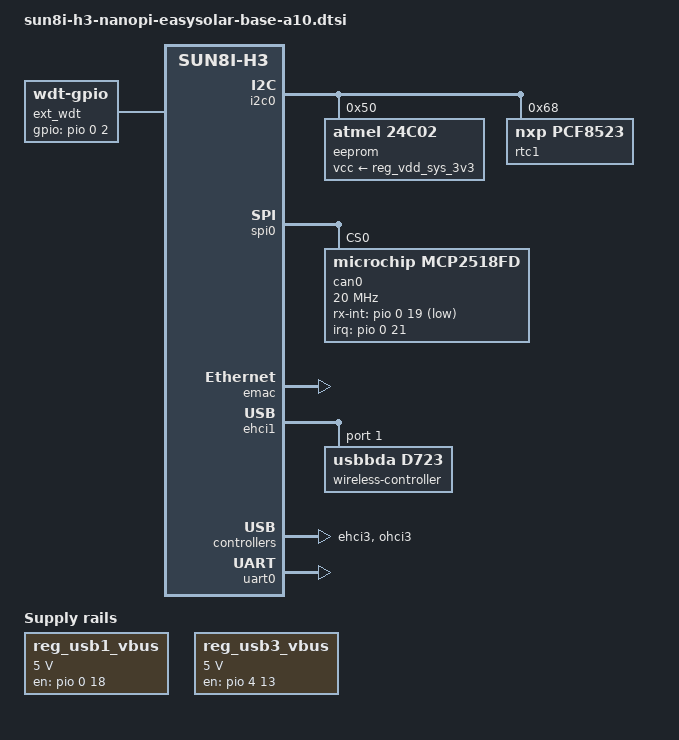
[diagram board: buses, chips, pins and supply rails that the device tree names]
/*
 * Copyright (C) 2019 Mans Rullgard <mans@mansr.com>
 *
 * This file is dual-licensed: you can use it either under the terms
 * of the GPL or the X11 license, at your option. Note that this dual
 * licensing only applies to this file, and not this project as a
 * whole.
 *
 *  a) This file is free software; you can redistribute it and/or
 *     modify it under the terms of the GNU General Public License as
 *     published by the Free Software Foundation; either version 2 of the
 *     License, or (at your option) any later version.
 *
 *     This file is distributed in the hope that it will be useful,
 *     but WITHOUT ANY WARRANTY; without even the implied warranty of
 *     MERCHANTABILITY or FITNESS FOR A PARTICULAR PURPOSE.  See the
 *     GNU General Public License for more details.
 *
 * Or, alternatively,
 *
 *  b) Permission is hereby granted, free of charge, to any person
 *     obtaining a copy of this software and associated documentation
 *     files (the "Software"), to deal in the Software without
 *     restriction, including without limitation the rights to use,
 *     copy, modify, merge, publish, distribute, sublicense, and/or
 *     sell copies of the Software, and to permit persons to whom the
 *     Software is furnished to do so, subject to the following
 *     conditions:
 *
 *     The above copyright notice and this permission notice shall be
 *     included in all copies or substantial portions of the Software.
 *
 *     THE SOFTWARE IS PROVIDED "AS IS", WITHOUT WARRANTY OF ANY KIND,
 *     EXPRESS OR IMPLIED, INCLUDING BUT NOT LIMITED TO THE WARRANTIES
 *     OF MERCHANTABILITY, FITNESS FOR A PARTICULAR PURPOSE AND
 *     NONINFRINGEMENT. IN NO EVENT SHALL THE AUTHORS OR COPYRIGHT
 *     HOLDERS BE LIABLE FOR ANY CLAIM, DAMAGES OR OTHER LIABILITY,
 *     WHETHER IN AN ACTION OF CONTRACT, TORT OR OTHERWISE, ARISING
 *     FROM, OUT OF OR IN CONNECTION WITH THE SOFTWARE OR THE USE OR
 *     OTHER DEALINGS IN THE SOFTWARE.
 */

#include "sun8i-h3-nanopi-neo-core.dtsi"

/ {
	aliases {
		serial0 = &uart0;
		serial1 = &uart1;
		serial2 = &uart2;
		serial3 = &uart3;
		ethernet0 = &emac;
		i2c0 = &i2c0;
		watchdog0 = &ext_wdt;
		watchdog1 = &wdt0;
	};

	chosen {
		stdout-path = "serial0:115200n8";
	};

	ext_wdt: watchdog {
		compatible = "linux,wdt-gpio";
		gpios = <&pio 0 2 GPIO_ACTIVE_HIGH>; /* PA2 */
		hw_algo = "toggle";
		hw_margin_ms = <30000>;
		always-running;
	};

	can_clk: can-clk {
		compatible = "fixed-clock";
		#clock-cells = <0>;
		clock-frequency = <40000000>;
	};

	reg_usb1_vbus: regulator-usb1-vbus {
		compatible = "regulator-fixed";
		regulator-name = "usb1-vbus";
		regulator-min-microvolt = <5000000>;
		regulator-max-microvolt = <5000000>;
		gpio = <&pio 0 18 GPIO_ACTIVE_HIGH>; /* PA18 */
		enable-active-high;
	};

	reg_usb3_vbus: regulator-usb3-vbus {
		compatible = "regulator-fixed";
		regulator-name = "usb3-vbus";
		regulator-min-microvolt = <5000000>;
		regulator-max-microvolt = <5000000>;
		gpio = <&pio 4 13 GPIO_ACTIVE_HIGH>; /* PE13 */
		enable-active-high;
	};
};

&i2c0 {
	status = "okay";

	eeprom@50 {
		compatible = "atmel,24c02";
		reg = <0x50>;
		pagesize = <16>;
		read-only;
		vcc-supply = <&reg_vdd_sys_3v3>;
	};

	rtc1: rtc@68 {
		compatible = "nxp,pcf8523";
		reg = <0x68>;
	};
};

&spi0 {
	status = "okay";

	assigned-clocks = <&ccu CLK_SPI0>;
	assigned-clock-rates = <600000000>;

	can0: can@0 {
		compatible = "microchip,mcp2518fd";
		reg = <0>;
		spi-max-frequency = <20000000>;
		clocks = <&can_clk>;
		interrupt-parent = <&pio>;
		interrupts = <0 21 IRQ_TYPE_LEVEL_LOW>; /* PA21 */
		microchip,rx-int-gpios = <&pio 0 19 GPIO_ACTIVE_LOW>; /* PA19 */
	};
};

&emac {
	status = "okay";
};

&ehci1 {
	status = "okay";

	#address-cells = <1>;
	#size-cells = <0>;

	wireless-controller@1 {
		compatible = "usbbda,d723";
		reg = <1>;
	};
};

&ehci3 {
	status = "okay";
};

&ohci3 {
	status = "okay";
};

&rtc {
	status = "disabled";
};

&usbphy {
	usb1_vbus-supply = <&reg_usb1_vbus>;
	usb3_vbus-supply = <&reg_usb3_vbus>;
};

&uart0 {
	pinctrl-names = "default";
	pinctrl-0 = <&uart0_pa_pins>;
	status = "okay";
};

&uart1 {
	pinctrl-names = "default";
	pinctrl-0 = <&uart1_pins>;
};

&uart2 {
	pinctrl-names = "default";
	pinctrl-0 = <&uart2_pins>;
};

&uart3 {
	pinctrl-names = "default";
	pinctrl-0 = <&uart3_pins>;
};
